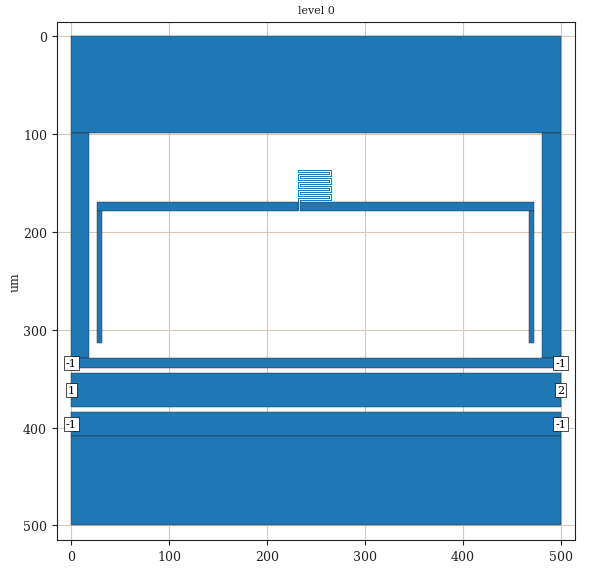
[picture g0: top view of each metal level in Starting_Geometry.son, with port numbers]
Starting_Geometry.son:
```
FTYP SONPROJ 19 ! Sonnet Project File
VER 18.58
HEADER
LIC maynooth60.1.87150
DAT 07/15/2024 09:35:39
BUILT_BY_CREATED xgeom 13.52 04/05/2012 11:22:39
BUILT_BY_SAVED sonnet 18.58
MDATE 07/15/2024 09:35:39
HDATE 07/15/2024 09:35:39
END HEADER
DIM
ANG DEG
CAP PF
CON /OH
FREQ GHZ
IND NH
LNG UM
RES OH
END DIM
CONTROL
VARSWP
OPTIONS  -dj
SPEED 1
CACHE_ABS 1
Q_ACC Y
DET_ABS_RES Y
END CONTROL
GEO
TMET "Lossless" 0 SUP 0 0 0 0
BMET "Lossless" 0 SUP 0 0 0 0
MET "superconductor" 1 SUP 0 0 0 5
MET "TiN multi" 2 SUP 0 0 0 5
MET "thick Ta" 3 SUP 0 0 0 0.001
BOX 1 500 500 1000 1000 20 0
      200 1 1 0 0 0 0 "Unnamed"
      450 11.8 1 0 0 0 0 "Unnamed"
LORGN 0 500 U 
POR1 BOX
POLY 690 1
1
-1 50 0 0 0 500 396.5 
POR1 BOX
POLY 690 1
3
-1 50 0 0 0 0 396.5 
POR1 BOX
POLY 693 1
1
-1 50 0 0 0 500 334 
POR1 BOX
POLY 693 1
3
-1 50 0 0 0 0 334 
POR1 BOX
POLY 695 1
3
1 50 0 0 0 0 361.5 
POR1 BOX
POLY 695 1
1
2 50 0 0 0 500 361.5 
NUM 44
0 5 0 N 555 1 1 100 100 0 0 0 Y
234 160
235 160
235 161
234 161
234 160
END
0 5 0 N 557 1 1 100 100 0 0 0 Y
265 162
266 162
266 167
265 167
265 162
END
0 5 0 N 559 1 1 100 100 0 0 0 Y
232 158
233 158
233 164
232 164
232 158
END
0 5 0 N 560 1 1 100 100 0 0 0 Y
234 161
266 161
266 162
234 162
234 161
END
0 5 0 N 561 1 1 100 100 0 0 0 Y
233 163
264 163
264 164
233 164
233 163
END
0 5 0 N 563 1 1 100 100 0 0 0 Y
233 165
264 165
264 166
233 166
233 165
END
0 5 0 N 564 1 1 100 100 0 0 0 Y
234 168
235 168
235 169
234 169
234 168
END
0 5 0 N 565 1 1 100 100 0 0 0 Y
263 164
264 164
264 165
263 165
263 164
END
0 5 0 N 571 1 1 100 100 0 0 0 Y
232 165
233 165
233 179
232 179
232 165
END
0 5 0 N 671 1 1 100 100 0 0 0 Y
234 167
266 167
266 168
234 168
234 167
END
0 5 0 N 689 1 1 100 100 0 0 0 Y
0 0
500 0
500 99
0 99
0 0
END
0 5 0 N 690 1 1 100 100 0 0 0 Y
0 384
500 384
500 409
0 409
0 384
END
0 5 0 N 691 1 1 100 100 0 0 0 Y
481 99
500 99
500 329
481 329
481 99
END
0 5 0 N 692 1 1 100 100 0 0 0 Y
0 99
18 99
18 329
0 329
0 99
END
0 5 0 N 693 1 1 100 100 0 0 0 Y
0 329
500 329
500 339
0 339
0 329
END
0 5 0 N 695 1 1 100 100 0 0 0 Y
0 344
500 344
500 379
0 379
0 344
END
0 5 0 N 696 1 1 100 100 0 0 0 Y
0 409
500 409
500 500
0 500
0 409
END
0 5 0 N 697 1 1 100 100 0 0 0 Y
26 169
232 169
232 179
26 179
26 169
END
0 5 0 N 698 1 1 100 100 0 0 0 Y
234 169
473 169
473 179
234 179
234 169
END
0 5 0 N 699 1 1 100 100 0 0 0 Y
468 179
473 179
473 314
468 314
468 179
END
0 5 0 N 700 1 1 100 100 0 0 0 Y
26 179
31 179
31 314
26 314
26 179
END
0 5 0 N 813 1 1 100 100 0 0 0 Y
263 156
264 156
264 157
263 157
263 156
END
0 5 0 N 814 1 1 100 100 0 0 0 Y
265 154
266 154
266 159
265 159
265 154
END
0 5 0 N 815 1 1 100 100 0 0 0 Y
232 157
264 157
264 158
232 158
232 157
END
0 5 0 N 817 1 1 100 100 0 0 0 Y
234 159
266 159
266 160
234 160
234 159
END
0 5 0 N 893 1 1 100 100 0 0 0 Y
234 151
266 151
266 152
234 152
234 151
END
0 5 0 N 894 1 1 100 100 0 0 0 Y
234 153
266 153
266 154
234 154
234 153
END
0 5 0 N 895 1 1 100 100 0 0 0 Y
263 148
264 148
264 149
263 149
263 148
END
0 5 0 N 896 1 1 100 100 0 0 0 Y
234 152
235 152
235 153
234 153
234 152
END
0 5 0 N 897 1 1 100 100 0 0 0 Y
233 155
264 155
264 156
233 156
233 155
END
0 5 0 N 898 1 1 100 100 0 0 0 Y
232 149
264 149
264 150
232 150
232 149
END
0 5 0 N 899 1 1 100 100 0 0 0 Y
232 150
233 150
233 156
232 156
232 150
END
0 5 0 N 900 1 1 100 100 0 0 0 Y
265 146
266 146
266 151
265 151
265 146
END
0 5 0 N 901 1 1 100 100 0 0 0 Y
234 143
266 143
266 144
234 144
234 143
END
0 5 0 N 902 1 1 100 100 0 0 0 Y
234 145
266 145
266 146
234 146
234 145
END
0 5 0 N 903 1 1 100 100 0 0 0 Y
263 140
264 140
264 141
263 141
263 140
END
0 5 0 N 904 1 1 100 100 0 0 0 Y
234 144
235 144
235 145
234 145
234 144
END
0 5 0 N 905 1 1 100 100 0 0 0 Y
233 147
264 147
264 148
233 148
233 147
END
0 5 0 N 906 1 1 100 100 0 0 0 Y
232 141
264 141
264 142
232 142
232 141
END
0 5 0 N 907 1 1 100 100 0 0 0 Y
232 142
233 142
233 148
232 148
232 142
END
0 5 0 N 908 1 1 100 100 0 0 0 Y
265 138
266 138
266 143
265 143
265 138
END
0 5 0 N 910 1 1 100 100 0 0 0 Y
232 137
266 137
266 138
232 138
232 137
END
0 5 0 N 912 1 1 100 100 0 0 0 Y
232 138
233 138
233 139
232 139
232 138
END
0 5 0 N 913 1 1 100 100 0 0 0 Y
232 139
264 139
264 140
232 140
232 139
END
END GEO
OPT
MAX 100
END OPT
VARSWP
ENABLED Y
END
END VARSWP
FILEOUT
CSV D Y $BASENAME.csv NC 15 S MA R 50.00000
FOLDER .
END FILEOUT
TRANSLATOR
GDSEXPORT
UseTLs true
SepObj false
SepMat true
DivideMulti false
Circles false
CircleType inscribed
CircleSize 0
KeepMetals true
KeepVias false
KeepViaPads false
KeepBricks true
KeepEdgeVias false
KeepParent false
ConvertParent false
AllEdgeViasAsVia false
END
END TRANSLATOR
```
